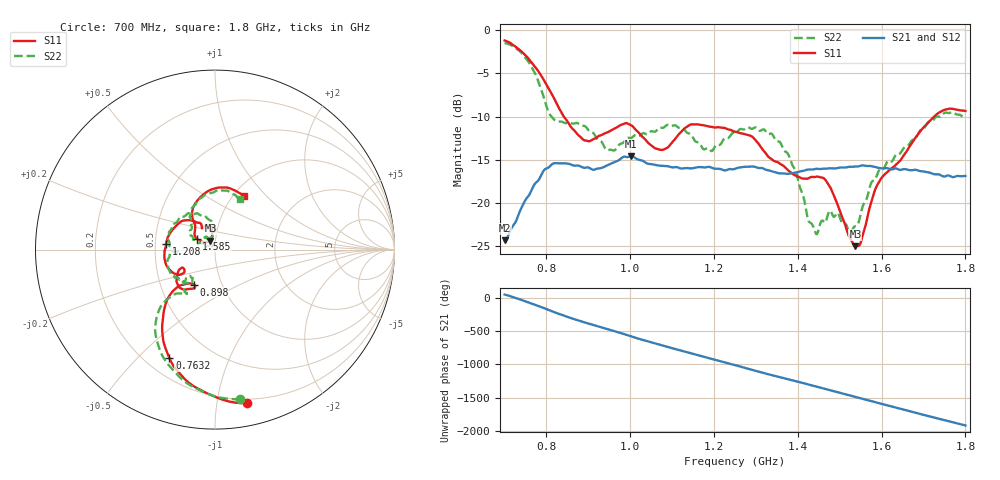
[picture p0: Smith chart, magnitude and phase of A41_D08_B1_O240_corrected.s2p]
! Created with skrf 1.9.0 (http://scikit-rf.org).
# Hz S RI R 50.0
!freq ReS11 ImS11 ReS21 ImS21 ReS12 ImS12 ReS22 ImS22
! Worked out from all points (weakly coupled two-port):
!   1601 points, 700 MHz to 1.8 GHz, reference 50 ohm
!   highest |S21| = -14.58 dB at 1.002 GHz (marker M1); lowest = -24.3 dB at 701.4 MHz (marker M2)
!   lowest |S11| = -25.0 dB at 1.537 GHz (marker M3), VSWR 1.12, Z = 47.3 + j4.77 ohm
!   |S11| at or under -10 dB: 841.5 MHz to 1.725 GHz (883.8 MHz wide, 68.9 % of centre)
!   |S22| runs from -23.6 to -1.5 dB; largest |S21 - S12| = 0.0036
!   S11 on the Smith chart (normalised r, x): 700 MHz: 0.17, -1.21; 763.2 MHz: 0.29, -0.62; 898 MHz: 0.73, -0.30; 1.208 GHz: 0.57, +0.04; 1.585 GHz: 0.81, +0.10; 1.8 GHz: 1.12, +0.76
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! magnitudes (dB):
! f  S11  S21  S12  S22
! 700 MHz  -1.2  -24.3  -24.1  -1.5
! 701.4 MHz  -1.2  -24.3  -24.0  -1.5
! 763.2 MHz  -3.7  -18.6  -18.6  -4.1
! 813.4 MHz  -7.5  -15.5  -15.5  -10.1
! 883.6 MHz  -12.5  -15.8  -15.7  -11.0
! 898 MHz  -12.8  -15.9  -15.9  -11.4
! 946.1 MHz  -11.8  -15.6  -15.6  -13.9
! 1.002 GHz  -11.0  -14.6  -14.7  -12.5
! 1.067 GHz  -13.8  -15.7  -15.6  -11.4
! 1.143 GHz  -10.9  -16.0  -16.0  -12.0
! 1.208 GHz  -11.2  -16.0  -16.1  -13.2
! 1.25 GHz  -11.7  -16.0  -16.0  -11.9
! 1.357 GHz  -15.4  -16.6  -16.5  -13.0
! 1.394 GHz  -16.8  -16.5  -16.5  -16.2
! 1.434 GHz  -17.0  -16.1  -16.1  -22.4
! 1.473 GHz  -17.8  -16.0  -16.0  -21.2
! 1.537 GHz  -25.0  -15.8  -15.8  -22.7
! 1.551 GHz  -24.4  -15.7  -15.7  -21.0
! 1.585 GHz  -18.4  -15.8  -15.8  -17.2
! 1.617 GHz  -16.3  -16.0  -16.0  -15.1
! 1.733 GHz  -9.7  -16.7  -16.7  -10.0
! 1.8 GHz  -9.3  -16.9  -16.9  -10.1
